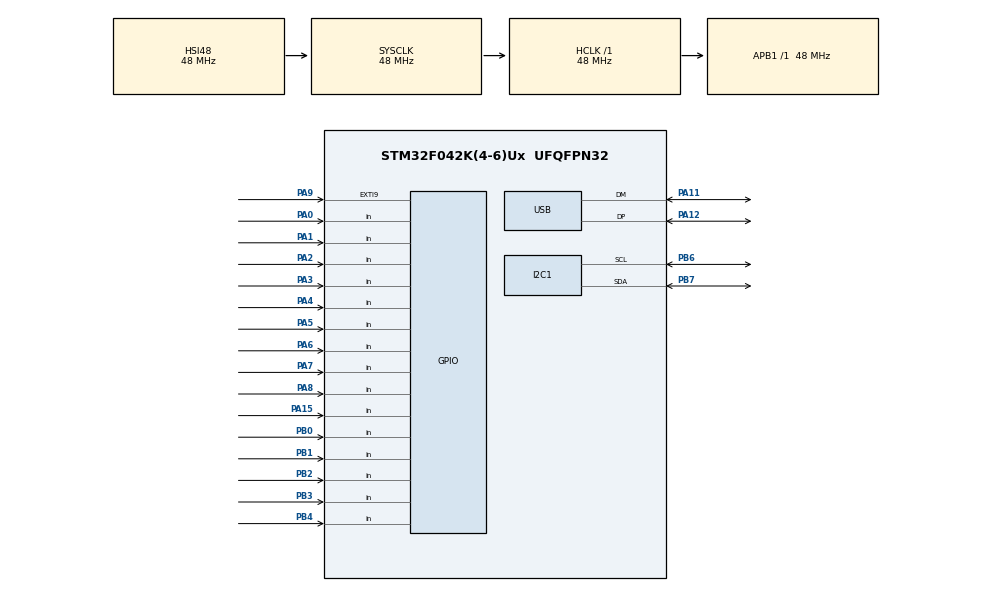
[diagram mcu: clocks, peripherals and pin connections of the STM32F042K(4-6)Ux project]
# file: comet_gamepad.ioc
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I2C1.Timing=0x00201D2B
Mcu.Family=STM32F0
Mcu.Name=STM32F042K(4-6)Ux
Mcu.Package=UFQFPN32
NVIC.USB_IRQn=true\:0\:0\:false\:false\:true\:false\:true\:true
PA0.Signal=GPIO_Input
PA1.Signal=GPIO_Input
PA11.Mode=Device
PA11.Signal=USB_DM
PA12.Mode=Device
PA12.Signal=USB_DP
PA15.Signal=GPIO_Input
PA2.Signal=GPIO_Input
PA3.Signal=GPIO_Input
PA4.Signal=GPIO_Input
PA5.Signal=GPIO_Input
PA6.Signal=GPIO_Input
PA7.Signal=GPIO_Input
PA8.Signal=GPIO_Input
PA9.GPIO_ModeDefaultEXTI=GPIO_MODE_IT_FALLING
PA9.GPIO_PuPd=GPIO_PULLUP
PA9.Signal=GPXTI9
PB0.Signal=GPIO_Input
PB1.Signal=GPIO_Input
PB2.Signal=GPIO_Input
PB3.Signal=GPIO_Input
PB4.Signal=GPIO_Input
PB6.Mode=I2C
PB6.Signal=I2C1_SCL
PB7.Mode=I2C
PB7.Signal=I2C1_SDA
PF0-OSC_IN.Mode=HSE-External-Clock-Source
PF0-OSC_IN.Signal=RCC_OSC_IN
ProjectManager.HeapSize=0x200
ProjectManager.StackSize=0x400
ProjectManager.TargetToolchain=STM32CubeIDE
RCC.AHBFreq_Value=48000000
RCC.APB1Freq_Value=48000000
RCC.APB1TimFreq_Value=48000000
RCC.HCLKFreq_Value=48000000
RCC.SYSCLKFreq_VALUE=48000000
RCC.SYSCLKSource=RCC_SYSCLKSOURCE_HSI48
USB_DEVICE.CLASS_NAME_FS=HID
USB_DEVICE.PID_HID_FS=0x0002
USB_DEVICE.PRODUCT_STRING_HID_FS=Comet_Gamepad_m
USB_DEVICE.VID=0xCE07
USB_DEVICE.VirtualMode=Hid
USB_DEVICE.VirtualModeFS=Hid_FS
VP_USB_DEVICE_VS_USB_DEVICE_HID_FS.Mode=HID_FS
board=custom

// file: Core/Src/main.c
/* USER CODE BEGIN Header */
/**
  ******************************************************************************
  * @file           : main.c
  * @brief          : Main program body
  ******************************************************************************
  * @attention
  *
  * Copyright (c) 2025 STMicroelectronics.
  * All rights reserved.
  *
  * This software is licensed under terms that can be found in the LICENSE file
  * in the root directory of this software component.
  * If no LICENSE file comes with this software, it is provided AS-IS.
  *
  ******************************************************************************
  */
/* USER CODE END Header */
#include "main.h"
#include "usb_device.h"

/* USER CODE BEGIN Includes */
#include <stdbool.h>

/* USER CODE END Includes */

/* USER CODE BEGIN PTD */

typedef struct __attribute__((packed)) {
    uint16_t buttons;  // 2
    uint8_t  hat;      // 1
    int8_t   x;        // 1
    int8_t   y;        // 1
    int8_t   rx;       // 1
    int8_t   ry;       // 1
} joystickReport;

_Static_assert(sizeof(joystickReport) == 7,
               "HID report size mismatch");

/* USER CODE END PTD */

/* USER CODE BEGIN PM */

uint8_t button_A1;
uint8_t button_A2;
uint8_t button_A3;
uint8_t button_A4;
uint8_t button_B1;
uint8_t button_B2;
uint8_t button_B3;
uint8_t button_B4;
uint8_t button_M1;
uint8_t button_M2;
uint8_t button_M3;
uint8_t button_M4;
uint8_t button_S1;
uint8_t button_S2;
uint8_t button_S3;
/* USER CODE END PM */

I2C_HandleTypeDef hi2c1;

/* USER CODE BEGIN PV */

I2C_HandleTypeDef hi2c1;

// Trackpad polling variables
uint32_t last_trackpad_poll = 0;
const uint32_t TRACKPAD_POLL_INTERVAL = 10; // ms

joystickReport joystickReportContainer;

extern USBD_HandleTypeDef hUsbDeviceFS;

/* USER CODE END PV */

void SystemClock_Config(void);
static void MX_GPIO_Init(void);
static void MX_I2C1_Init(void);
/* USER CODE BEGIN PFP */
void IQS9150_9151_Init(void);
void IQS9150_9151_Process(void);
uint16_t mapTrackpadToJoystick(uint16_t trackpad_value, bool is_x_axis);

/* USER CODE END PFP */

int main(void)
{

  /* MCU Configuration--------------------------------------------------------*/

  /* Reset of all peripherals, Initializes the Flash interface and the Systick. */
  HAL_Init();

  /* Configure the system clock */
  SystemClock_Config();

  /* Initialize all configured peripherals */
  MX_GPIO_Init();
  MX_USB_DEVICE_Init();
  MX_I2C1_Init();

  /* Infinite loop */
  /* USER CODE BEGIN WHILE */
  while (1)
  {

      button_A1 = HAL_GPIO_ReadPin(GPIOA, GPIO_PIN_0);
      button_A2 = HAL_GPIO_ReadPin(GPIOA, GPIO_PIN_1);
      button_A3 = HAL_GPIO_ReadPin(GPIOA, GPIO_PIN_2);
      button_A4 = HAL_GPIO_ReadPin(GPIOA, GPIO_PIN_3);
      button_B1 = HAL_GPIO_ReadPin(GPIOA, GPIO_PIN_4);
      button_B2 = HAL_GPIO_ReadPin(GPIOA, GPIO_PIN_5);
      button_B3 = HAL_GPIO_ReadPin(GPIOA, GPIO_PIN_6);
      button_B4 = HAL_GPIO_ReadPin(GPIOA, GPIO_PIN_7);
      button_M1 = HAL_GPIO_ReadPin(GPIOB, GPIO_PIN_0);
      button_M2 = HAL_GPIO_ReadPin(GPIOB, GPIO_PIN_1);
      button_M3 = HAL_GPIO_ReadPin(GPIOB, GPIO_PIN_2);
      button_M4 = HAL_GPIO_ReadPin(GPIOA, GPIO_PIN_8);
      button_S1 = HAL_GPIO_ReadPin(GPIOB, GPIO_PIN_4);
      button_S2 = HAL_GPIO_ReadPin(GPIOB, GPIO_PIN_3);
      button_S3 = HAL_GPIO_ReadPin(GPIOA, GPIO_PIN_15);

      // buttons M1-4 (D-Pad) can be used as axis change setting in usbd_hid.c

      joystickReportContainer.buttons =
          ((uint16_t)button_M1 << 14) |
          ((uint16_t)button_M2 << 13) |
          ((uint16_t)button_S3 << 12) |
          ((uint16_t)button_S1 << 11) |
          ((uint16_t)button_S2 << 10) |
          ((uint16_t)button_M4 << 9)  |
          ((uint16_t)button_M3 << 8)  |
//          (button_A1 << 7) |
//          (button_A2 << 6) |
//          (button_A3 << 5) |
          (button_B1 << 4) |
          (button_B2 << 3) |
//          (button_A4 << 2) |
          (button_B4 << 1) |
          (button_B3);

      /* -------- D-Pad as HAT + Left Stick mirror (FIXED) -------- */

      uint8_t hat = 0;
      int8_t  lx  = 0;
      int8_t  ly  = 0;

      /*
       Physical buttons:
       A1 = UP
       A2 = LEFT
       A3 = DOWN
       A4 = RIGHT
      */

      /* -------- HAT calculation (A2 ↔ A3 fixed) -------- */
      if (button_A1 && !button_A2 && !button_A4)        hat = 1; // Up
      else if (button_A1 && button_A4)                  hat = 2; // Up-Right
      else if (button_A4 && !button_A1 && !button_A3)   hat = 3; // Right
      else if (button_A3 && button_A4)                  hat = 4; // Down-Right
      else if (button_A3 && !button_A2 && !button_A4)   hat = 5; // Down
      else if (button_A3 && button_A2)                  hat = 6; // Down-Left
      else if (button_A2 && !button_A1 && !button_A3)   hat = 7; // Left
      else if (button_A1 && button_A2)                  hat = 8; // Up-Left
      else                                               hat = 0; // Center                                             hat = 0;

      joystickReportContainer.hat = hat;

      /* -------- LEFT STICK MIRROR (FIXED AXES) -------- */
      switch (hat) {
          case 1:  lx =  0;   ly = -127; break;           // Up
          case 2:  lx =  127; ly = -127; break;           // Up-Right
          case 3:  lx =  127; ly =  0;    break;           // Right
          case 4:  lx =  127; ly =  127; break;            // Down-Right
          case 5:  lx =  0;   ly =  127; break;            // Down
          case 6:  lx = -127; ly =  127; break;            // Down-Left
          case 7:  lx = -127; ly =  0;    break;            // Left
          case 8:  lx = -127; ly = -127; break;            // Up-Left
          default: break;
      }

      /* ✔ Correct axis assignment */
      joystickReportContainer.x  = lx;   // LEFT / RIGHT
      joystickReportContainer.y  = ly;   // UP / DOWN
      joystickReportContainer.rx = 0;
      joystickReportContainer.ry = 0;

//      USBD_HID_SendReport(&hUsbDeviceFS, (uint8_t *) &joystickReportContainer, 7);
      USBD_HID_SendReport(&hUsbDeviceFS, (uint8_t *) &joystickReportContainer, sizeof(joystickReportContainer));

      HAL_Delay(10);

    /* USER CODE END WHILE */

  }
}

void SystemClock_Config(void)
{
  RCC_OscInitTypeDef RCC_OscInitStruct = {0};
  RCC_ClkInitTypeDef RCC_ClkInitStruct = {0};
  RCC_PeriphCLKInitTypeDef PeriphClkInit = {0};

  /** Initializes the RCC Oscillators according to the specified parameters
  * in the RCC_OscInitTypeDef structure.
  */
  RCC_OscInitStruct.OscillatorType = RCC_OSCILLATORTYPE_HSI|RCC_OSCILLATORTYPE_HSI48;
  RCC_OscInitStruct.HSIState = RCC_HSI_ON;
  RCC_OscInitStruct.HSI48State = RCC_HSI48_ON;
  RCC_OscInitStruct.HSICalibrationValue = RCC_HSICALIBRATION_DEFAULT;
  RCC_OscInitStruct.PLL.PLLState = RCC_PLL_NONE;
  if (HAL_RCC_OscConfig(&RCC_OscInitStruct) != HAL_OK)
  {
    Error_Handler();
  }

  /** Initializes the CPU, AHB and APB buses clocks
  */
  RCC_ClkInitStruct.ClockType = RCC_CLOCKTYPE_HCLK|RCC_CLOCKTYPE_SYSCLK
                              |RCC_CLOCKTYPE_PCLK1;
  RCC_ClkInitStruct.SYSCLKSource = RCC_SYSCLKSOURCE_HSI48;
  RCC_ClkInitStruct.AHBCLKDivider = RCC_SYSCLK_DIV1;
  RCC_ClkInitStruct.APB1CLKDivider = RCC_HCLK_DIV1;

  if (HAL_RCC_ClockConfig(&RCC_ClkInitStruct, FLASH_LATENCY_1) != HAL_OK)
  {
    Error_Handler();
  }
  PeriphClkInit.PeriphClockSelection = RCC_PERIPHCLK_USB|RCC_PERIPHCLK_I2C1;
  PeriphClkInit.I2c1ClockSelection = RCC_I2C1CLKSOURCE_HSI;
  PeriphClkInit.UsbClockSelection = RCC_USBCLKSOURCE_HSI48;

  if (HAL_RCCEx_PeriphCLKConfig(&PeriphClkInit) != HAL_OK)
  {
    Error_Handler();
  }
}

static void MX_I2C1_Init(void)
{

  hi2c1.Instance = I2C1;
  hi2c1.Init.Timing = 0x00201D2B;
  hi2c1.Init.OwnAddress1 = 0;
  hi2c1.Init.AddressingMode = I2C_ADDRESSINGMODE_7BIT;
  hi2c1.Init.DualAddressMode = I2C_DUALADDRESS_DISABLE;
  hi2c1.Init.OwnAddress2 = 0;
  hi2c1.Init.OwnAddress2Masks = I2C_OA2_NOMASK;
  hi2c1.Init.GeneralCallMode = I2C_GENERALCALL_DISABLE;
  hi2c1.Init.NoStretchMode = I2C_NOSTRETCH_DISABLE;
  if (HAL_I2C_Init(&hi2c1) != HAL_OK)
  {
    Error_Handler();
  }

  /** Configure Analogue filter
  */
  if (HAL_I2CEx_ConfigAnalogFilter(&hi2c1, I2C_ANALOGFILTER_ENABLE) != HAL_OK)
  {
    Error_Handler();
  }

  /** Configure Digital filter
  */
  if (HAL_I2CEx_ConfigDigitalFilter(&hi2c1, 0) != HAL_OK)
  {
    Error_Handler();
  }

}

static void MX_GPIO_Init(void)
{
  GPIO_InitTypeDef GPIO_InitStruct = {0};

  /* GPIO Ports Clock Enable */
  __HAL_RCC_GPIOF_CLK_ENABLE();
  __HAL_RCC_GPIOA_CLK_ENABLE();
  __HAL_RCC_GPIOB_CLK_ENABLE();

  /*Configure GPIO pins : PA0 PA1 PA2 PA3
                           PA4 PA5 PA6 PA7
                           PA8 PA15 */
  GPIO_InitStruct.Pin = GPIO_PIN_0|GPIO_PIN_1|GPIO_PIN_2|GPIO_PIN_3
                          |GPIO_PIN_4|GPIO_PIN_5|GPIO_PIN_6|GPIO_PIN_7
                          |GPIO_PIN_8|GPIO_PIN_15;
  GPIO_InitStruct.Mode = GPIO_MODE_INPUT;
  GPIO_InitStruct.Pull = GPIO_NOPULL;
  HAL_GPIO_Init(GPIOA, &GPIO_InitStruct);

  /*Configure GPIO pins : PB0 PB1 PB2 PB3
                           PB4 */
  GPIO_InitStruct.Pin = GPIO_PIN_0|GPIO_PIN_1|GPIO_PIN_2|GPIO_PIN_3
                          |GPIO_PIN_4;
  GPIO_InitStruct.Mode = GPIO_MODE_INPUT;
  GPIO_InitStruct.Pull = GPIO_NOPULL;
  HAL_GPIO_Init(GPIOB, &GPIO_InitStruct);

  /*Configure GPIO pin : PA9 */
  GPIO_InitStruct.Pin = GPIO_PIN_9;
  GPIO_InitStruct.Mode = GPIO_MODE_IT_FALLING;
  GPIO_InitStruct.Pull = GPIO_PULLUP;
  HAL_GPIO_Init(GPIOA, &GPIO_InitStruct);

}

void Error_Handler(void)
{
  __disable_irq();
  while (1)
  {
  }
}
